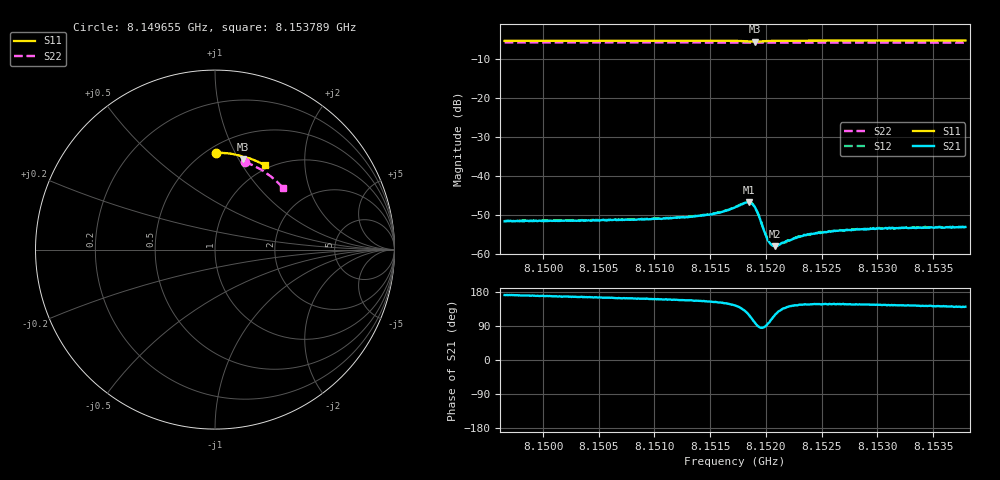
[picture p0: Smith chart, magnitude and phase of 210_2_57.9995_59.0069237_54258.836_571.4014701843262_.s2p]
#  HZ  S  RI  R  50.00
! Rohde & Schwarz Vector Network Analyzer
! Rohde-Schwarz,ZNB20-2Port,1311601062101988,3.16
! Created: UTC 3/21/2024, 12:59:43 AM
! freq[Hz]  re:S11  im:S11  re:S21  im:S21  re:S12  im:S12  re:S22  im:S22
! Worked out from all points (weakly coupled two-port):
!   401 points, 8.149655 GHz to 8.153789 GHz, reference 50 ohm
!   highest |S21| = -46.73 dB at 8.151846 GHz (marker M1); lowest = -58.0 dB at 8.152084 GHz (marker M2)
!   lowest |S11| = -5.6 dB at 8.151898 GHz (marker M3), VSWR 3.23, Z = 37.3 + j52.1 ohm
!   |S11| at or under -10 dB: nowhere
!   |S22| runs from -5.8 to -5.7 dB; largest |S21 - S12| = 0.00012
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8.1496554e9  0.00656 0.5395  -0.00259 0.000392  -0.00261 0.000425  0.1647 0.4889
8.1503478e9  0.0549 0.5379  -0.00264 0.000608  -0.00264 0.000692  0.2062 0.4721
8.1510402e9  0.1034 0.5318  -0.00268 0.000974  -0.00268 0.000984  0.246 0.4516
8.1512882e9  0.121 0.5283  -0.00275 0.00115  -0.00276 0.00119  0.2597 0.4436
8.1515052e9  0.1367 0.5244  -0.00291 0.00142  -0.0029 0.00148  0.2717 0.4361
8.1515982e9  0.1439 0.522  -0.00301 0.00166  -0.00306 0.00171  0.2766 0.4327
8.1517222e9  0.1537 0.5172  -0.00321 0.00233  -0.00317 0.00239  0.2832 0.4281
8.1518049e9  0.159 0.5105  -0.00295 0.00338  -0.00293 0.00344  0.2874 0.425
8.1518462e9  0.1592 0.506  -0.00225 0.00402  -0.00221 0.00406  0.2894 0.4233
8.1518772e9  0.157 0.5038  -0.00132 0.0042  -0.00127 0.00425  0.2911 0.4222
8.1518979e9  0.155 0.5038  -0.000674 0.00399  -0.000594 0.00401  0.2919 0.4214
8.1519289e9  0.153 0.5058  3.5e-05 0.00328  9.02e-05 0.00328  0.2934 0.4204
8.1519909e9  0.1558 0.5115  5.83e-05 0.00185  9.58e-05 0.00187  0.2966 0.4184
8.1520219e9  0.1585 0.5129  -0.000186 0.00145  -0.000158 0.00148  0.2983 0.4173
8.1520529e9  0.1617 0.5139  -0.00041 0.00124  -0.000405 0.00126  0.2999 0.4161
8.1520839e9  0.1646 0.5141  -0.000634 0.00109  -0.000641 0.00111  0.3015 0.415
8.1521563e9  0.1709 0.5137  -0.00101 0.000959  -0.000975 0.000984  0.3054 0.4119
8.1522699e9  0.1799 0.5119  -0.0013 0.000935  -0.00133 0.000958  0.3111 0.4077
8.1524146e9  0.1905 0.5088  -0.00152 0.000976  -0.00152 0.000996  0.3183 0.4018
8.1526523e9  0.2067 0.5031  -0.00168 0.00108  -0.00169 0.00112  0.33 0.392
8.153107e9  0.2366 0.4908  -0.00176 0.00124  -0.00176 0.00128  0.3513 0.3721
8.153789e9  0.2787 0.4692  -0.00172 0.00141  -0.00171 0.00143  0.3807 0.3405
